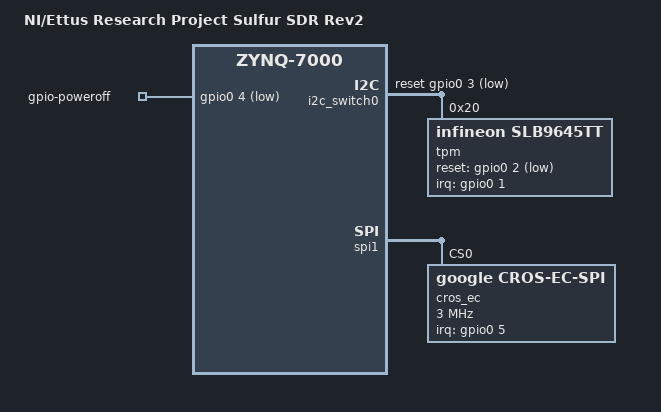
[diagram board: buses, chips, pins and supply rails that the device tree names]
/*
 * Copyright (c) 2016,2017 National Instruments Corp.
 *
 * SPDX-License-Identifier: (GPL-2.0 OR X11)
 */

/dts-v1/;
#include <dt-bindings/input/input.h>
#include <dt-bindings/interrupt-controller/irq.h>
#include <dt-bindings/gpio/gpio.h>
#include "zynq-ni-sulfur.dtsi"

/ {
	model = "NI/Ettus Research Project Sulfur SDR Rev2";
	compatible = "ettus,zynq-sulfur-rev2", "xlnx,zynq-7000";

	gpio-poweroff {
		compatible = "gpio-poweroff";
		gpios = <&gpio0 4 GPIO_ACTIVE_LOW>;
	};
};

&i2c_switch0 {
	reset-gpios = <&gpio0 3 GPIO_ACTIVE_LOW>;

	i2c@4 {
		#address-cells = <1>;
		#size-cells = <0>;
		reg = <4>;

		tpm: tpm@20 {
			compatible = "infineon,slb9645tt";
			reg = <0x20>;

			interrupts = <1 IRQ_TYPE_LEVEL_LOW>;
			interrupt-parent = <&gpio0>;

			reset-gpios = <&gpio0 2 GPIO_ACTIVE_LOW>;
		};
	};

};

&spi1 {
	status = "okay";

	cros_ec: ec@0 {
		compatible = "google,cros-ec-spi";
		reg = <0>;
		google,cros-ec-spi-msg-delay = <200>;
		google,cros-ec-spi-pre-delay = <60>;
		google,has-vbc-nvram;
		spi-max-frequency = <3000000>;

		interrupts = <5 IRQ_TYPE_LEVEL_LOW>;
		interrupt-parent = <&gpio0>;

		tun: i2c-tunnel {
			compatible = "google,cros-ec-i2c-tunnel";
			#address-cells = <1>;
			#size-cells = <0>;
			google,remote-bus = <1>;
			clock-frequency = <50000>;

			nvmem0: eeprom@50 {
				compatible = "atmel,24c256";
				reg = <0x50>;
			};

			rtc0: rtc@68 {
				compatible = "dallas,ds1374";
				reg = <0x68>;
			};
		};
	};
};

&ethernet_phy0 {
	reset-gpios = <&gpio0 6 GPIO_ACTIVE_LOW>;
};

&usb_phy0 {
	reset-gpios = <&gpio0 7 GPIO_ACTIVE_LOW>;
};
